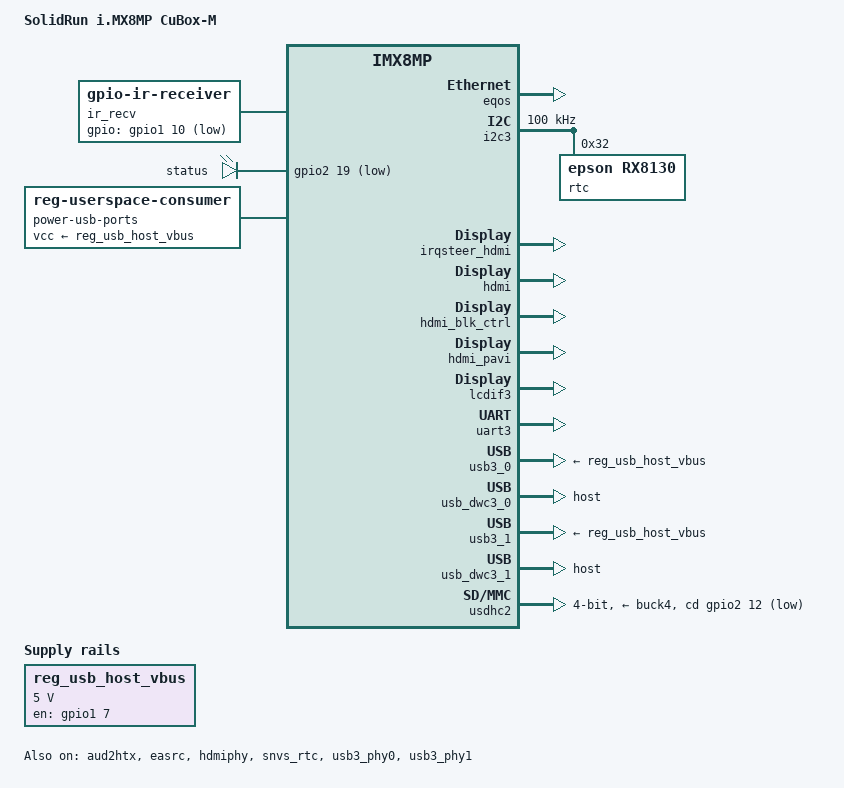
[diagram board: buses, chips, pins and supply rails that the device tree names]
// SPDX-License-Identifier: (GPL-2.0+ OR MIT)
/*
 * Copyright 2019 NXP
 */

/dts-v1/;

#include "imx8mp-sr-som.dtsi"

/ {
	model = "SolidRun i.MX8MP CuBox-M";
	compatible = "fsl,imx8mp-sr-som", "fsl,imx8mp";

	display-subsystem {
		compatible = "fsl,imx-display-subsystem";
		ports = <&lcdif3_disp>;
	};

	ir_recv: ir-receiver {
		compatible = "gpio-ir-receiver";
		gpios = <&gpio1 10 GPIO_ACTIVE_LOW>;
		pinctrl-names = "default";
		pinctrl-0 = <&pinctrl_ir>;
		linux,autosuspend-period = <125>;
		wakeup-source;
	};

	leds {
		compatible = "gpio-leds";
		pinctrl-names = "default";
		pinctrl-0 = <&pinctrl_gpio_led>;

		status {
			label = "status";
			gpios = <&gpio2 19 GPIO_ACTIVE_LOW>;
			default-state = "on";
		};
	};

	power-usb-ports {
		compatible = "reg-userspace-consumer";
		regulator-name = "usb-ports-pwr-consumer";
		regulator-boot-on;
		regulator-supplies = "vcc";
		vcc-supply = <&reg_usb_host_vbus>;
		comment = "USB Ports vbus power switch";
	};

	reg_usb_host_vbus: regulator-usb-vbus {
		compatible = "regulator-fixed";
		regulator-name = "usb_host_vbus";
		pinctrl-names = "default";
		pinctrl-0 = <&pinctrl_usb_vbus>;
		regulator-min-microvolt = <5000000>;
		regulator-max-microvolt = <5000000>;
		gpio = <&gpio1 7 GPIO_ACTIVE_HIGH>;
		enable-active-high;
	};

	sound-hdmi {
		compatible = "fsl,imx-audio-hdmi";
		model = "audio-hdmi";
		audio-cpu = <&aud2htx>;
		hdmi-out;
		constraint-rate = <44100>,
				<88200>,
				<176400>,
				<32000>,
				<48000>,
				<96000>,
				<192000>;
		status = "okay";
	};
};

&aud2htx {
	status = "okay";
};

&basler_1 {
	status = "disabled";
};

&easrc {
	fsl,asrc-rate  = <48000>;
	status = "okay";
};

/*eth0*/
&eqos {
	status = "okay";
};

&isp_0 {
	status = "disabled";
};

&i2c3 {
	clock-frequency = <100000>;
	pinctrl-names = "default";
	pinctrl-0 = <&pinctrl_i2c3>;
	status = "okay";
	
	rtc: rtc@32 {
		compatible = "epson,rx8130";
		reg = <0x32>;
	};
};

&irqsteer_hdmi {
	status = "okay";
};

&hdmi {
	status = "okay";
};

&hdmi_blk_ctrl {
	status = "okay";
};

&hdmi_pavi {
	status = "okay";
};

&hdmiphy {
	status = "okay";
};

/* SOM LVDS is not accessible on the CuBox*/
&lcdif2 {
	status = "disabled";
};

/*HDMI*/
&lcdif3 {
	status = "okay";
};

&sdma2 {
	status = "okay";
};

&snvs_rtc{
	status = "okay";
};

&uart3 {
	pinctrl-names = "default";
	pinctrl-0 = <&pinctrl_uart3>;
	assigned-clocks = <&clk IMX8MP_CLK_UART3>;
	assigned-clock-parents = <&clk IMX8MP_SYS_PLL1_80M>;
	fsl,uart-has-rtscts;
	status = "okay";
};

&usb3_phy0 {
	fsl,phy-tx-preemp-amp-tune = <2>;
	status = "okay";
};

&usb3_0 {
	vbus-supply = <&reg_usb_host_vbus>;
	status = "okay";
};

&usb_dwc3_0 {
	dr_mode = "host";
	status = "okay";
};

&usb3_phy1 {
	fsl,phy-tx-preemp-amp-tune = <2>;
	status = "okay";
};

&usb3_1 {
	vbus-supply = <&reg_usb_host_vbus>;
	status = "okay";
};

&usb_dwc3_1 {
	dr_mode = "host";
	snps,parkmode-disable-ss-quirk;
	status = "okay";
};

&usdhc2 {
	assigned-clocks = <&clk IMX8MP_CLK_USDHC2>;
	assigned-clock-rates = <400000000>;
	pinctrl-names = "default", "state_100mhz", "state_200mhz";
	pinctrl-0 = <&pinctrl_usdhc2>, <&pinctrl_usdhc2_gpio>;
	pinctrl-1 = <&pinctrl_usdhc2_100mhz>, <&pinctrl_usdhc2_gpio>;
	pinctrl-2 = <&pinctrl_usdhc2_200mhz>, <&pinctrl_usdhc2_gpio>;
	cd-gpios = <&gpio2 12 GPIO_ACTIVE_LOW>;
	vmmc-supply = <&buck4>;
	voltage-ranges = <1800 1800 3300 3300>;
	bus-width = <4>;
	status = "okay";
};

&iomuxc {
	pinctrl-names = "default";
	pinctrl-0 = <&pinctrl_hog>;

	pinctrl_hog: hoggrp {
		fsl,pins = <
			MX8MP_IOMUXC_HDMI_DDC_SCL__HDMIMIX_HDMI_SCL	0x400001c3
			MX8MP_IOMUXC_HDMI_DDC_SDA__HDMIMIX_HDMI_SDA	0x400001c3
			MX8MP_IOMUXC_HDMI_HPD__HDMIMIX_HDMI_HPD		0x40000019
			MX8MP_IOMUXC_HDMI_CEC__HDMIMIX_HDMI_CEC		0x40000019
		>;
	};

	pinctrl_gpio_led: gpioledgrp {
		fsl,pins = <
			MX8MP_IOMUXC_SD2_RESET_B__GPIO2_IO19	    0x40
		>;
	};

	pinctrl_i2c3: i2c3grp {
		fsl,pins = <
			MX8MP_IOMUXC_I2C3_SCL__I2C3_SCL			0x400001c3
			MX8MP_IOMUXC_I2C3_SDA__I2C3_SDA			0x400001c3
		>;
	};

	pinctrl_ir: irgrp {
		fsl,pins = <
			MX8MP_IOMUXC_GPIO1_IO10__GPIO1_IO10		0x4f
		>;
	};

	pinctrl_pdm: pdmgrp {
		fsl,pins = <
			MX8MP_IOMUXC_SAI5_RXC__AUDIOMIX_PDM_CLK			0xd6
			MX8MP_IOMUXC_SAI5_RXD0__AUDIOMIX_PDM_BIT_STREAM00	0xd6
			MX8MP_IOMUXC_SAI5_RXD1__AUDIOMIX_PDM_BIT_STREAM01	0xd6
			MX8MP_IOMUXC_SAI5_RXD2__AUDIOMIX_PDM_BIT_STREAM02	0xd6
			MX8MP_IOMUXC_SAI5_RXD3__AUDIOMIX_PDM_BIT_STREAM03	0xd6
		>;
	};

	pinctrl_uart3: uart3grp {
		fsl,pins = <
			MX8MP_IOMUXC_ECSPI1_SCLK__UART3_DCE_RX	  0x140
			MX8MP_IOMUXC_ECSPI1_MOSI__UART3_DCE_TX	  0x140
			MX8MP_IOMUXC_ECSPI1_SS0__UART3_DCE_RTS	  0x140
			MX8MP_IOMUXC_ECSPI1_MISO__UART3_DCE_CTS	 0x140
		>;
	};

	pinctrl_usb_vbus: usbgrp {
		fsl,pins = <
			MX8MP_IOMUXC_GPIO1_IO07__GPIO1_IO07	0x19
		>;
	};

	pinctrl_usdhc2: usdhc2grp {
		fsl,pins = <
			MX8MP_IOMUXC_SD2_CLK__USDHC2_CLK	0x190
			MX8MP_IOMUXC_SD2_CMD__USDHC2_CMD	0x1d0
			MX8MP_IOMUXC_SD2_DATA0__USDHC2_DATA0	0x1d0
			MX8MP_IOMUXC_SD2_DATA1__USDHC2_DATA1	0x1d0
			MX8MP_IOMUXC_SD2_DATA2__USDHC2_DATA2	0x1d0
			MX8MP_IOMUXC_SD2_DATA3__USDHC2_DATA3	0x1d0
			MX8MP_IOMUXC_GPIO1_IO04__USDHC2_VSELECT	0xc1
		>;
	};

	pinctrl_usdhc2_100mhz: usdhc2grp-100mhz {
		fsl,pins = <
			MX8MP_IOMUXC_SD2_CLK__USDHC2_CLK	0x194
			MX8MP_IOMUXC_SD2_CMD__USDHC2_CMD	0x1d4
			MX8MP_IOMUXC_SD2_DATA0__USDHC2_DATA0	0x1d4
			MX8MP_IOMUXC_SD2_DATA1__USDHC2_DATA1	0x1d4
			MX8MP_IOMUXC_SD2_DATA2__USDHC2_DATA2	0x1d4
			MX8MP_IOMUXC_SD2_DATA3__USDHC2_DATA3	0x1d4
			MX8MP_IOMUXC_GPIO1_IO04__USDHC2_VSELECT	0xc1
		>;
	};

	pinctrl_usdhc2_200mhz: usdhc2grp-200mhz {
		fsl,pins = <
			MX8MP_IOMUXC_SD2_CLK__USDHC2_CLK	0x196
			MX8MP_IOMUXC_SD2_CMD__USDHC2_CMD	0x1d6
			MX8MP_IOMUXC_SD2_DATA0__USDHC2_DATA0	0x1d6
			MX8MP_IOMUXC_SD2_DATA1__USDHC2_DATA1	0x1d6
			MX8MP_IOMUXC_SD2_DATA2__USDHC2_DATA2	0x1d6
			MX8MP_IOMUXC_SD2_DATA3__USDHC2_DATA3	0x1d6
			MX8MP_IOMUXC_GPIO1_IO04__USDHC2_VSELECT	0xc1
		>;
	};

	pinctrl_usdhc2_gpio: usdhc2grp-gpio {
		fsl,pins = <
			MX8MP_IOMUXC_SD2_CD_B__GPIO2_IO12	0x1c4
		>;
	};
};
